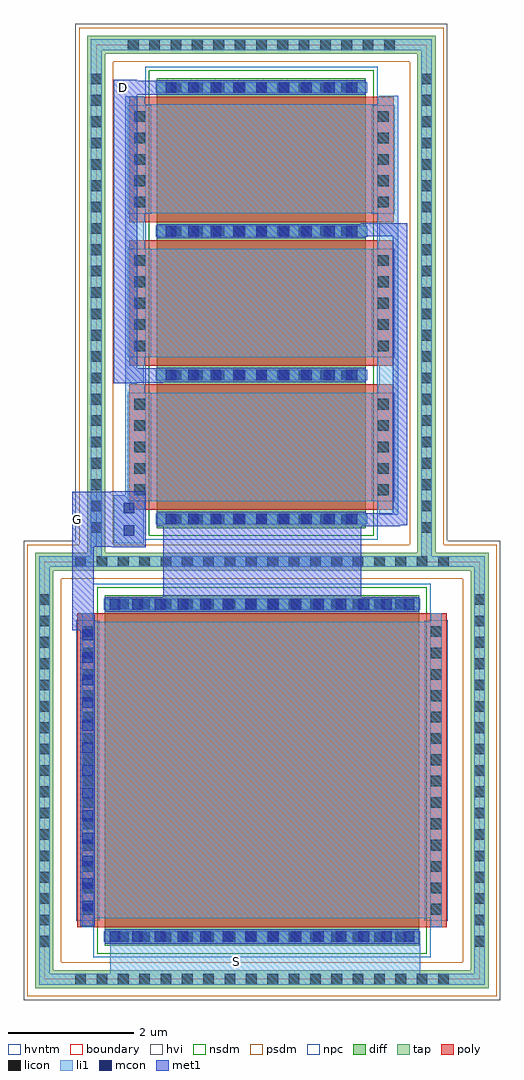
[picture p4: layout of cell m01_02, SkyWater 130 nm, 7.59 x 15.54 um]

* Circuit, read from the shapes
.subckt m01_02 D G S
XM1 sky130_fd_pr__nfet_g5v0d10v5_Y3KDPX_0/D G S S sky130_fd_pr__nfet_g5v0d10v5 w=5 l=5
XM2 D G sky130_fd_pr__nfet_g5v0d10v5_Y3KDPX_0/D S sky130_fd_pr__nfet_g5v0d10v5 w=3.33 l=2 m=3
.ends

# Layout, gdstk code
from math import pi, radians
import gdstk
lib = gdstk.Library(unit=1e-6, precision=1e-09)
def R(c, l, rs):  # rectangles x0, y0, x1, y1
    for r in rs: c.add(gdstk.rectangle(r[:2], r[2:], *l))
def A(c, l, x, y, w, h, nx, ny, dx, dy):  # array of equal rectangles
    R(c, l, [(x+i*dx, y+j*dy, x+i*dx+w, y+j*dy+h) for i in range(nx) for j in range(ny)])
diff = (65, 20)
tap = (65, 44)
poly = (66, 20)
licon = (66, 44)
li1 = (67, 20)
mcon = (67, 44)
met1 = (68, 20)
hvi = (75, 20)
nsdm = (93, 44)
psdm = (94, 20)
npc = (95, 20)
hvntm = (125, 20)
boundary = (235, 4)

sky130_fd_pr__nfet_g5v0d = lib.new_cell('sky130_fd_pr__nfet_g5v0d10v5_Y3KDPX')
R(sky130_fd_pr__nfet_g5v0d, diff, [(-2.79,-2.5,2.79,2.5)])
R(sky130_fd_pr__nfet_g5v0d, tap, [(-3.47,-3.61,3.47,-3.32), (-3.47,-3.32,-3.18,3.32), (3.18,-3.32,3.47,3.32), (-3.47,3.32,3.47,3.61)])
R(sky130_fd_pr__nfet_g5v0d, poly, [(-2.5,-2.94,2.5,2.94)])
A(sky130_fd_pr__nfet_g5v0d, licon, -2.805, -3.55, 0.17, 0.17, 17, 2, 0.34, 6.93)
A(sky130_fd_pr__nfet_g5v0d, licon, -3.41, -2.975, 0.17, 0.17, 1, 18, 0, 0.34)
A(sky130_fd_pr__nfet_g5v0d, licon, 3.24, -2.975, 0.17, 0.17, 1, 18, 0, 0.34)
A(sky130_fd_pr__nfet_g5v0d, licon, -2.295, -2.86, 0.17, 0.17, 14, 2, 0.34, 5.55)
A(sky130_fd_pr__nfet_g5v0d, licon, -2.73, -2.295, 0.17, 0.17, 1, 14, 0, 0.34)
A(sky130_fd_pr__nfet_g5v0d, licon, 2.56, -2.295, 0.17, 0.17, 1, 14, 0, 0.34)
R(sky130_fd_pr__nfet_g5v0d, li1, [(-3.41,-3.55,3.41,-3.38), (-3.41,-3.38,-3.24,3.38), (3.24,-3.38,3.41,3.38), (-2.5,-2.86,2.5,-2.69), (-2.73,-2.52,-2.56,2.52), (2.56,-2.52,2.73,2.52), (-4.385,-2.36,-3.615,-1.88), (-2.5,2.69,2.5,2.86), (-3.41,3.38,3.41,3.55)])
A(sky130_fd_pr__nfet_g5v0d, mcon, -2.245, -2.86, 0.17, 0.17, 13, 1, 0.36, 0)
A(sky130_fd_pr__nfet_g5v0d, mcon, -2.73, -2.425, 0.17, 0.17, 1, 14, 0, 0.36)
A(sky130_fd_pr__nfet_g5v0d, mcon, 2.56, -2.425, 0.17, 0.17, 1, 14, 0, 0.36)
R(sky130_fd_pr__nfet_g5v0d, mcon, [(-4.265,-2.205,-4.095,-2.035), (-3.905,-2.205,-3.735,-2.035)])
R(sky130_fd_pr__nfet_g5v0d, met1, [(-4.435,-3.02,-2.235,-2.89), (-4.435,-2.89,2.48,-2.68), (-4.435,-2.68,-3.565,-2.39), (-2.48,-2.68,2.48,-2.66), (-2.76,-2.5,-2.53,2.5), (2.53,-2.5,2.76,2.5), (-4.445,-2.39,-3.555,-1.85), (-10.995,-2.36,-6.165,-1.99), (-10.985,-1.99,-10.755,-1.39), (-6.405,-1.99,-6.175,-1.57), (-4.095,1.56,-3.885,2.08), (-8.715,1.57,-8.505,2.08), (-8.715,2.08,-3.885,2.2), (-8.715,2.2,-3.905,2.31)])
R(sky130_fd_pr__nfet_g5v0d, hvi, [(-3.655,-3.795,3.655,3.795)])
R(sky130_fd_pr__nfet_g5v0d, nsdm, [(-2.915,-2.625,2.915,2.625)])
R(sky130_fd_pr__nfet_g5v0d, psdm, [(-3.595,-3.735,3.595,-3.195), (-3.595,-3.195,-3.055,3.195), (3.055,-3.195,3.595,3.195), (-3.595,3.195,3.595,3.735)])
R(sky130_fd_pr__nfet_g5v0d, npc, [(-2.395,-2.96,2.395,-2.59), (-2.395,2.59,2.395,2.96)])
R(sky130_fd_pr__nfet_g5v0d, hvntm, [(-2.975,-2.685,2.975,2.685)])
R(sky130_fd_pr__nfet_g5v0d, boundary, [(-3.325,-3.465,3.325,3.465)])
sky130_fd_pr__nfet_g5v0d.add(gdstk.Label('B', (0,-3.465), layer=67, texttype=5))
sky130_fd_pr__nfet_g5v0d.add(gdstk.Label('D', (-2.645,0), layer=67, texttype=5))
sky130_fd_pr__nfet_g5v0d.add(gdstk.Label('S', (2.645,0), layer=67, texttype=5))
sky130_fd_pr__nfet_g5v0d.add(gdstk.Label('G', (0,2.775), layer=67, texttype=5))

c_sky130_fd_pr__nfet_g5v0d = lib.new_cell('sky130_fd_pr__nfet_g5v0d10v5_JNX2ZR')
R(c_sky130_fd_pr__nfet_g5v0d, diff, [(-3.58,-1.665,3.58,1.665)])
R(c_sky130_fd_pr__nfet_g5v0d, tap, [(-4.26,-2.775,4.26,-2.485), (-4.26,-2.485,-3.97,2.485), (3.97,-2.485,4.26,2.485), (-4.26,2.485,4.26,2.775)])
A(c_sky130_fd_pr__nfet_g5v0d, poly, -3.29, -2.105, 2, 4.21, 3, 1, 2.29, 0)
A(c_sky130_fd_pr__nfet_g5v0d, licon, -3.655, -2.715, 0.17, 0.17, 22, 2, 0.34, 5.26)
A(c_sky130_fd_pr__nfet_g5v0d, licon, -4.2, -2.125, 0.17, 0.17, 1, 13, 0, 0.34)
A(c_sky130_fd_pr__nfet_g5v0d, licon, -3.055, -2.025, 0.17, 0.17, 5, 2, 0.34, 3.88)
A(c_sky130_fd_pr__nfet_g5v0d, licon, -0.765, -2.025, 0.17, 0.17, 5, 2, 0.34, 3.88)
A(c_sky130_fd_pr__nfet_g5v0d, licon, 1.525, -2.025, 0.17, 0.17, 5, 2, 0.34, 3.88)
A(c_sky130_fd_pr__nfet_g5v0d, licon, -3.52, -1.445, 0.17, 0.17, 4, 9, 2.29, 0.34)
A(c_sky130_fd_pr__nfet_g5v0d, li1, -3.29, -2.025, 2, 0.17, 3, 2, 2.29, 3.88)
A(c_sky130_fd_pr__nfet_g5v0d, li1, -3.52, -1.685, 0.17, 3.37, 4, 1, 2.29, 0)
R(c_sky130_fd_pr__nfet_g5v0d, li1, [(-4.2,-2.715,4.03,-2.545), (-4.2,-2.545,-4.03,2.545), (-4.2,2.545,4.03,2.715)])
A(c_sky130_fd_pr__nfet_g5v0d, mcon, -3.52, -1.525, 0.17, 0.17, 4, 9, 2.29, 0.36)
A(c_sky130_fd_pr__nfet_g5v0d, met1, -3.55, -1.665, 0.23, 3.33, 4, 1, 2.29, 0)
R(c_sky130_fd_pr__nfet_g5v0d, hvi, [(-4.445,-2.96,4.445,2.96)])
R(c_sky130_fd_pr__nfet_g5v0d, nsdm, [(-3.705,-1.79,3.705,1.79)])
R(c_sky130_fd_pr__nfet_g5v0d, psdm, [(-4.385,-2.9,4.385,-2.36), (-4.385,-2.36,-3.845,2.36), (3.845,-2.36,4.385,2.36), (-4.385,2.36,4.385,2.9)])
A(c_sky130_fd_pr__nfet_g5v0d, npc, -3.155, -2.125, 1.73, 0.37, 3, 2, 2.29, 3.88)
R(c_sky130_fd_pr__nfet_g5v0d, hvntm, [(-3.765,-1.85,3.765,1.85)])
R(c_sky130_fd_pr__nfet_g5v0d, boundary, [(-4.115,-2.63,4.115,2.63)])

m01_02 = lib.new_cell('m01_02')
R(m01_02, li1, [(51.08,36.47,56.02,37.25), (50.66,37.49,56.31,42.21), (51.32,43.91,51.62,44.13), (55.37,43.92,55.67,44.13), (51.32,44.13,55.67,45.86), (51.32,45.86,51.62,46.42), (55.37,45.86,55.67,46.42), (51.32,46.42,55.67,48.15), (51.32,48.15,51.62,48.72), (55.37,48.15,55.67,48.72), (51.32,48.72,55.67,50.45), (51.32,50.45,51.62,50.58), (55.37,50.45,55.67,50.59)])
R(m01_02, met1, [(51.93,42.45,55.08,43.92), (50.49,43.62,50.68,44.01), (51.17,50.64,51.43,50.8)])
m01_02.add(gdstk.Reference(sky130_fd_pr__nfet_g5v0d, (53.5,39.845), rotation=3*pi/2))
m01_02.add(gdstk.Reference(c_sky130_fd_pr__nfet_g5v0d, (53.49,47.285), rotation=3*pi/2))
m01_02.add(gdstk.Label('G', (50.56,43.84), layer=68, texttype=5))
m01_02.add(gdstk.Label('S', (53.1,36.81), layer=67, texttype=5))
m01_02.add(gdstk.Label('D', (51.3,50.72), layer=68, texttype=5))

lib.write_gds('m01_02.gds')
